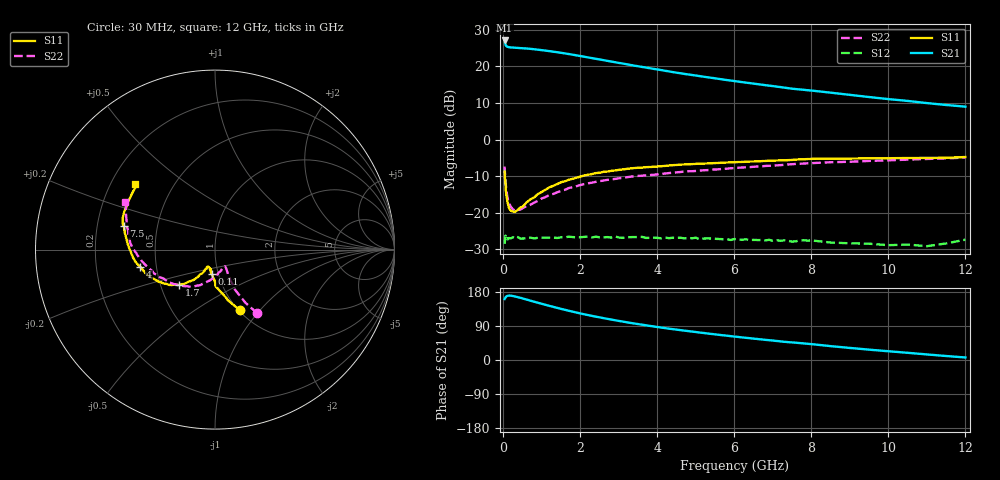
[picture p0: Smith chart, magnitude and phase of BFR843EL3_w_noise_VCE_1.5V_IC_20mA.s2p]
! Infineon Technologies  Discrete & RF Semiconductors
! BFR843EL3
! VCE =  1.5 V,  IC =  20 mA
! Common Emitter S-Parameters:  Aug 2013
# GHz  S  MA  R  50
!  f  S11  S21  S12  S22
! GHz  MAG  ANG  MAG  ANG  MAG  ANG  MAG  ANG
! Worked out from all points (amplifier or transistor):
!   103 points, 30 MHz to 12 GHz, reference 50 ohm
!   highest |S21| = 27.1 dB at 30 MHz (marker M1)
!   |S21| within 3 dB of that: start of sweep to 1.246 GHz
!   unconditionally stable (mu >= 1): 440.6 MHz to 474.6 MHz; 4.033 GHz to 4.183 GHz; 4.211 GHz to end of sweep
!   at 400 MHz: K = 0.99, MSG = 26.0 dB, |S12| = -26.9 dB
!   at 3.7 GHz: K = 0.97, MSG = 23.3 dB, |S12| = -26.9 dB
!   at 12 GHz: K = 2.04, MAG = 12.4 dB, |S12| = -27.4 dB
!   lowest NFmin = 1.09 dB at 900 MHz
!   S11 on the Smith chart (normalised r, x): 30 MHz: 1.01, -0.78; 110 MHz: 0.93, -0.25; 1.7 GHz: 0.62, -0.26; 4 GHz: 0.41, -0.10; 7.5 GHz: 0.32, +0.11; 12 GHz: 0.30, +0.33
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0.03  0.3631 -67.9  22.67 160.8  0.0374 26.8  0.4262 -56.4
0.04  0.2909 -75.7  21.09 162.6  0.0415 19.7  0.3413 -60.2
0.06  0.2035 -89.3  19.49 166.0  0.0481 12.2  0.2434 -63.8
0.08  0.1675 -91.5  18.91 168.0  0.0438 11.7  0.1952 -63.5
0.11  0.135 -98.3  18.52 169.3  0.0429 8.8  0.1558 -62.7
0.15  0.1131 -101.4  18.32 170.0  0.0447 4.9  0.132 -60.2
0.25  0.103 -110.1  18.11 168.7  0.0461 5.0  0.1102 -58.8
0.7  0.1512 -118.5  17.41 156.6  0.0454 2.4  0.1277 -79.8
1.2  0.2219 -127.7  16.18 142.7  0.0454 3.1  0.1744 -99.5
1.7  0.2816 -135.8  14.77 129.9  0.0468 2.2  0.2169 -113.3
2.1  0.3222 -142.3  13.57 120.6  0.0465 2.2  0.2458 -123.2
2.6  0.3618 -150.2  12.19 110.4  0.0458 3.3  0.2744 -132.7
3  0.384 -155.5  11.16 103.1  0.0456 1.8  0.2946 -138.9
3.5  0.4105 -161.8  10.05 94.7  0.0463 1.4  0.3174 -146.1
4  0.4266 -166.9  9.092 87.0  0.0451 1.4  0.3332 -151.5
4.1  0.4311 -167.8  8.908 85.6  0.0444 1.7  0.3372 -152.3
5.1  0.4662 -177.2  7.364 72.4  0.043 1.2  0.3751 -162.5
6.1  0.4918 175.0  6.202 60.8  0.0429 1.9  0.4109 -170.6
7.5  0.5258 165.6  4.963 46.4  0.04 5.0  0.4595 178.8
8.5  0.548 157.5  4.375 36.6  0.0389 4.7  0.4885 170.8
10.5  0.5576 146.3  3.374 19.0  0.0365 17.2  0.5304 159.1
12  0.5761 140.6  2.816 6.7  0.0426 30.8  0.5652 152.3
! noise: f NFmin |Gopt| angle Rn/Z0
0.45  1.1  0.09  143  0.13
0.9  1.09  0.1  141  0.12
1.5  1.11  0.11  142  0.11
1.9  1.12  0.11  145  0.11
2.4  1.13  0.12  148  0.1
3.5  1.15  0.15  156  0.1
5.5  1.18  0.21  176  0.1
8  1.22  0.32  197  0.08
10  1.25  0.45  220  0.08
